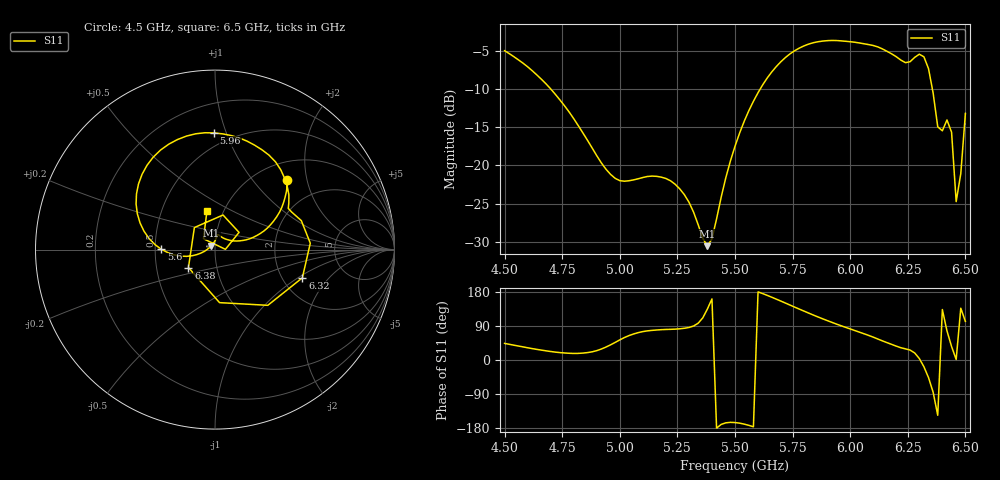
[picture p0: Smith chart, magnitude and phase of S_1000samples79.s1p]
! TOUCHSTONE file generated by CST MICROWAVE STUDIO
! Date and time: Wed Oct 26 22:16:30 2022
! Project name: L.cst
! Parameters = {Di=1.27; Epsilon_r=1.56; InnerDiameter=1.27; Length=2; Lf=10; Lg=60; OuterConductorThickness=0.2921; OuterDiameter=3.6; Wf=3; Wp=41.2; de=1.5; df=6.8; g=0.8; gx=1.09985; gy=1.09031; h=2.34; hf=1.524; px=11.9189; py=12.305; w=9.7; wx=10.8191; wy=11.2147}
! Header version: 2018
! Port assignment regex: !\s*Touchstone port\s*([0-9]+)\s*=\s*(CST MWS port|CST DS port)\s*([0-9]+|Zmin|Zmax)\s*\(\"(.*)\"\)(\s*mode\s*([0-9]+))?.*
! Touchstone port assignment:
! Touchstone port 1 = CST MWS port 1 ("")
# GHz S DB R 50
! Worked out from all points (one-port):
!   101 points, 4.5 GHz to 6.5 GHz, reference 50 ohm
!   lowest |S11| = -30.6 dB at 5.38 GHz (marker M1), VSWR 1.06, Z = 47.9 + j2.04 ohm
!   |S11| at or under -10 dB: 4.7 GHz to 5.61 GHz (910.3 MHz wide, 17.7 % of centre); 6.356 GHz to end of sweep
!   S11 on the Smith chart (normalised r, x): 4.5 GHz: 1.35, +1.54; 5.6 GHz: 0.54, +0.00; 5.96 GHz: 0.40, +0.91; 6.32 GHz: 2.56, -1.09; 6.38 GHz: 0.73, -0.15; 6.5 GHz: 0.84, +0.38
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4.5  -5.03 43.9
4.76  -12.22 18.6
4.94  -20.50 34.2
5  -21.99 53.1
5.16  -21.43 79.2
5.26  -23.06 82.3
5.38  -30.55 134.3
5.4  -29.59 161.2
5.5  -17.50 -165.0
5.6  -10.51 179.7
5.68  -7.07 160.4
5.76  -5.01 139.3
5.86  -3.86 113.7
5.96  -3.74 90.5
6  -3.85 82.0
6.14  -4.79 50.4
6.26  -6.46 26.2
6.28  -5.90 18.6
6.32  -5.82 -17.9
6.34  -7.38 -46.5
6.36  -10.56 -85.1
6.38  -14.96 -145.9
6.4  -15.48 133.1
6.42  -14.07 76.9
6.44  -15.66 35.6
6.46  -24.73 1.5
6.48  -21.08 136.7
6.5  -13.22 101.9
